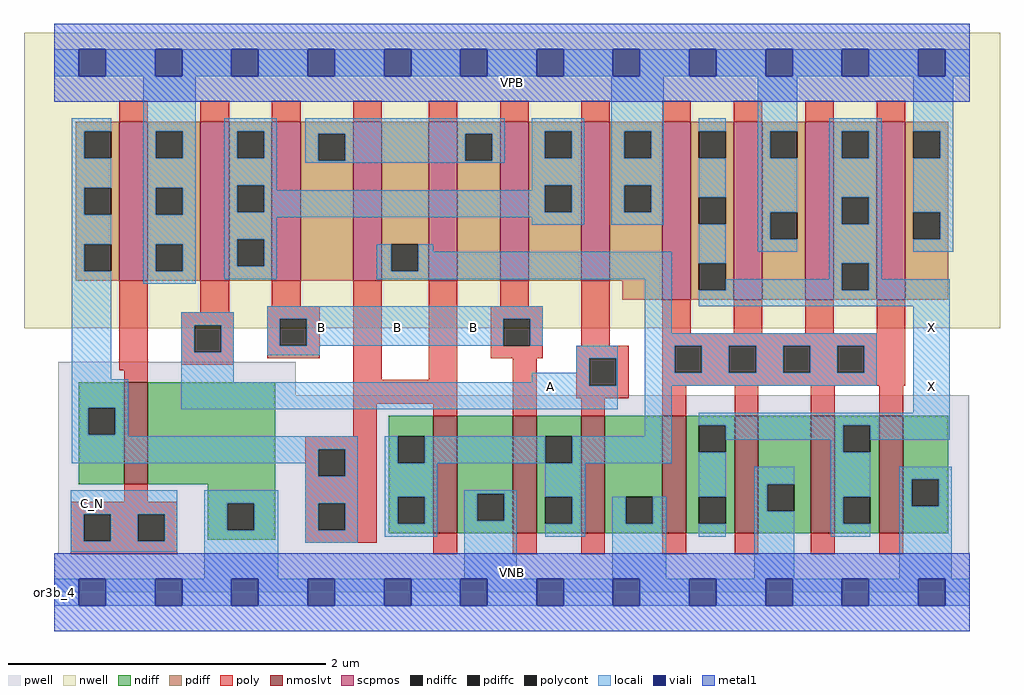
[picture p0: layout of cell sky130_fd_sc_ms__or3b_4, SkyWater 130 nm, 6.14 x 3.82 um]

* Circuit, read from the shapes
.subckt sky130_fd_sc_ms__or3b_4 A B C_N VGND VNB VPB VPWR X
XM1 VGND C_N n1 VNB sky130_fd_pr__nfet_01v8_lvt w=0.64 l=0.15
XM2 VGND n1 n2 VNB sky130_fd_pr__nfet_01v8_lvt w=0.74 l=0.15
XM3 n2 B VGND VNB sky130_fd_pr__nfet_01v8_lvt w=0.74 l=0.15
XM4 VGND A n2 VNB sky130_fd_pr__nfet_01v8_lvt w=0.74 l=0.15
XM5 X n2 VGND VNB sky130_fd_pr__nfet_01v8_lvt w=0.74 l=0.15 m=4
XM6 VPWR C_N n1 VPB sky130_fd_pr__pfet_01v8 w=1 l=0.18
XM7 n3 A VPWR VPB sky130_fd_pr__pfet_01v8 w=1 l=0.18 m=2
XM8 n4 B n3 VPB sky130_fd_pr__pfet_01v8 w=1 l=0.18 m=2
XM9 n2 n1 n4 VPB sky130_fd_pr__pfet_01v8 w=1 l=0.18 m=2
XM10 X n2 VPWR VPB sky130_fd_pr__pfet_01v8 w=1.12 l=0.18 m=4
.ends

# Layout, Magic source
magic
tech sky130A
magscale 1 2
<< nwell >>
rect -38 332 1190 704
<< pwell >>
rect 5 248 304 290
rect 5 49 1151 248
rect 0 0 1152 49
<< scpmos >>
rect 82 392 118 592
rect 184 392 220 592
rect 274 392 310 592
rect 376 392 412 592
rect 471 392 507 592
rect 561 392 597 592
rect 663 392 699 592
rect 765 368 801 592
rect 855 368 891 592
rect 945 368 981 592
rect 1035 368 1071 592
<< nmoslvt >>
rect 88 136 118 264
rect 477 74 507 222
rect 577 74 607 222
rect 663 74 693 222
rect 765 74 795 222
rect 856 74 886 222
rect 952 74 982 222
rect 1038 74 1068 222
<< ndiff >>
rect 31 232 88 264
rect 31 198 43 232
rect 77 198 88 232
rect 31 136 88 198
rect 118 136 278 264
rect 193 112 278 136
rect 193 78 218 112
rect 252 78 278 112
rect 193 66 278 78
rect 421 196 477 222
rect 421 162 432 196
rect 466 162 477 196
rect 421 120 477 162
rect 421 86 432 120
rect 466 86 477 120
rect 421 74 477 86
rect 507 124 577 222
rect 507 90 532 124
rect 566 90 577 124
rect 507 74 577 90
rect 607 196 663 222
rect 607 162 618 196
rect 652 162 663 196
rect 607 120 663 162
rect 607 86 618 120
rect 652 86 663 120
rect 607 74 663 86
rect 693 120 765 222
rect 693 86 719 120
rect 753 86 765 120
rect 693 74 765 86
rect 795 210 856 222
rect 795 176 811 210
rect 845 176 856 210
rect 795 120 856 176
rect 795 86 811 120
rect 845 86 856 120
rect 795 74 856 86
rect 886 136 952 222
rect 886 102 897 136
rect 931 102 952 136
rect 886 74 952 102
rect 982 210 1038 222
rect 982 176 993 210
rect 1027 176 1038 210
rect 982 120 1038 176
rect 982 86 993 120
rect 1027 86 1038 120
rect 982 74 1038 86
rect 1068 142 1125 222
rect 1068 108 1079 142
rect 1113 108 1125 142
rect 1068 74 1125 108
<< pdiff >>
rect 27 580 82 592
rect 27 546 38 580
rect 72 546 82 580
rect 27 509 82 546
rect 27 475 38 509
rect 72 475 82 509
rect 27 438 82 475
rect 27 404 38 438
rect 72 404 82 438
rect 27 392 82 404
rect 118 580 184 592
rect 118 546 128 580
rect 162 546 184 580
rect 118 509 184 546
rect 118 475 128 509
rect 162 475 184 509
rect 118 438 184 475
rect 118 404 128 438
rect 162 404 184 438
rect 118 392 184 404
rect 220 580 274 592
rect 220 546 230 580
rect 264 546 274 580
rect 220 512 274 546
rect 220 478 230 512
rect 264 478 274 512
rect 220 444 274 478
rect 220 410 230 444
rect 264 410 274 444
rect 220 392 274 410
rect 310 577 376 592
rect 310 543 332 577
rect 366 543 376 577
rect 310 392 376 543
rect 412 438 471 592
rect 412 404 424 438
rect 458 404 471 438
rect 412 392 471 404
rect 507 577 561 592
rect 507 543 517 577
rect 551 543 561 577
rect 507 392 561 543
rect 597 580 663 592
rect 597 546 617 580
rect 651 546 663 580
rect 597 512 663 546
rect 597 478 617 512
rect 651 478 663 512
rect 597 392 663 478
rect 699 580 765 592
rect 699 546 717 580
rect 751 546 765 580
rect 699 512 765 546
rect 699 478 717 512
rect 751 478 765 512
rect 699 392 765 478
rect 715 368 765 392
rect 801 580 855 592
rect 801 546 811 580
rect 845 546 855 580
rect 801 497 855 546
rect 801 463 811 497
rect 845 463 855 497
rect 801 414 855 463
rect 801 380 811 414
rect 845 380 855 414
rect 801 368 855 380
rect 891 580 945 592
rect 891 546 901 580
rect 935 546 945 580
rect 891 478 945 546
rect 891 444 901 478
rect 935 444 945 478
rect 891 368 945 444
rect 981 580 1035 592
rect 981 546 991 580
rect 1025 546 1035 580
rect 981 497 1035 546
rect 981 463 991 497
rect 1025 463 1035 497
rect 981 414 1035 463
rect 981 380 991 414
rect 1025 380 1035 414
rect 981 368 1035 380
rect 1071 580 1125 592
rect 1071 546 1081 580
rect 1115 546 1125 580
rect 1071 478 1125 546
rect 1071 444 1081 478
rect 1115 444 1125 478
rect 1071 368 1125 444
<< ndiffc >>
rect 43 198 77 232
rect 218 78 252 112
rect 432 162 466 196
rect 432 86 466 120
rect 532 90 566 124
rect 618 162 652 196
rect 618 86 652 120
rect 719 86 753 120
rect 811 176 845 210
rect 811 86 845 120
rect 897 102 931 136
rect 993 176 1027 210
rect 993 86 1027 120
rect 1079 108 1113 142
<< pdiffc >>
rect 38 546 72 580
rect 38 475 72 509
rect 38 404 72 438
rect 128 546 162 580
rect 128 475 162 509
rect 128 404 162 438
rect 230 546 264 580
rect 230 478 264 512
rect 230 410 264 444
rect 332 543 366 577
rect 424 404 458 438
rect 517 543 551 577
rect 617 546 651 580
rect 617 478 651 512
rect 717 546 751 580
rect 717 478 751 512
rect 811 546 845 580
rect 811 463 845 497
rect 811 380 845 414
rect 901 546 935 580
rect 901 444 935 478
rect 991 546 1025 580
rect 991 463 1025 497
rect 991 380 1025 414
rect 1081 546 1115 580
rect 1081 444 1115 478
<< poly >>
rect 82 592 118 618
rect 184 592 220 618
rect 274 592 310 618
rect 376 592 412 618
rect 471 592 507 618
rect 561 592 597 618
rect 663 592 699 618
rect 765 592 801 618
rect 855 592 891 618
rect 945 592 981 618
rect 1035 592 1071 618
rect 82 279 118 392
rect 184 352 220 392
rect 274 360 310 392
rect 160 336 226 352
rect 160 302 176 336
rect 210 302 226 336
rect 160 286 226 302
rect 268 344 334 360
rect 268 310 284 344
rect 318 310 334 344
rect 268 294 334 310
rect 88 264 118 279
rect 376 267 412 392
rect 471 267 507 392
rect 561 360 597 392
rect 549 344 615 360
rect 549 310 565 344
rect 599 310 615 344
rect 663 310 699 392
rect 765 326 801 368
rect 855 326 891 368
rect 945 326 981 368
rect 1035 326 1071 368
rect 765 310 1071 326
rect 549 294 615 310
rect 657 294 723 310
rect 376 237 507 267
rect 376 196 406 237
rect 477 222 507 237
rect 577 222 607 294
rect 657 260 673 294
rect 707 260 723 294
rect 657 244 723 260
rect 765 276 781 310
rect 815 276 849 310
rect 883 276 917 310
rect 951 276 985 310
rect 1019 276 1071 310
rect 765 260 1071 276
rect 663 222 693 244
rect 765 222 795 260
rect 856 222 886 260
rect 952 222 982 260
rect 1038 222 1068 260
rect 88 114 118 136
rect 21 98 155 114
rect 21 64 37 98
rect 71 64 105 98
rect 139 64 155 98
rect 316 180 406 196
rect 316 146 332 180
rect 366 146 406 180
rect 316 112 406 146
rect 316 78 332 112
rect 366 78 406 112
rect 21 48 155 64
rect 316 62 406 78
rect 477 48 507 74
rect 577 48 607 74
rect 663 48 693 74
rect 765 48 795 74
rect 856 48 886 74
rect 952 48 982 74
rect 1038 48 1068 74
<< polycont >>
rect 176 302 210 336
rect 284 310 318 344
rect 565 310 599 344
rect 673 260 707 294
rect 781 276 815 310
rect 849 276 883 310
rect 917 276 951 310
rect 985 276 1019 310
rect 37 64 71 98
rect 105 64 139 98
rect 332 146 366 180
rect 332 78 366 112
<< locali >>
rect 0 649 31 683
rect 65 649 127 683
rect 161 649 223 683
rect 257 649 319 683
rect 353 649 415 683
rect 449 649 511 683
rect 545 649 607 683
rect 641 649 703 683
rect 737 649 799 683
rect 833 649 895 683
rect 929 649 991 683
rect 1025 649 1087 683
rect 1121 649 1152 683
rect 22 580 72 596
rect 22 546 38 580
rect 22 509 72 546
rect 22 475 38 509
rect 22 438 72 475
rect 22 404 38 438
rect 22 268 72 404
rect 112 580 178 649
rect 112 546 128 580
rect 162 546 178 580
rect 112 509 178 546
rect 112 475 128 509
rect 162 475 178 509
rect 112 438 178 475
rect 112 404 128 438
rect 162 404 178 438
rect 112 388 178 404
rect 214 580 280 596
rect 214 546 230 580
rect 264 546 280 580
rect 214 512 280 546
rect 316 577 567 596
rect 316 543 332 577
rect 366 543 517 577
rect 551 543 567 577
rect 316 540 567 543
rect 601 580 667 596
rect 601 546 617 580
rect 651 546 667 580
rect 214 478 230 512
rect 264 506 280 512
rect 601 512 667 546
rect 601 506 617 512
rect 264 478 617 506
rect 651 478 667 512
rect 214 472 667 478
rect 214 444 280 472
rect 601 462 667 472
rect 701 580 767 649
rect 701 546 717 580
rect 751 546 767 580
rect 701 512 767 546
rect 701 478 717 512
rect 751 478 767 512
rect 701 462 767 478
rect 811 580 845 596
rect 811 497 845 546
rect 214 410 230 444
rect 264 410 280 444
rect 214 394 280 410
rect 406 404 424 438
rect 458 428 477 438
rect 458 404 777 428
rect 406 394 777 404
rect 160 336 226 352
rect 160 302 176 336
rect 210 302 226 336
rect 22 232 93 268
rect 22 198 43 232
rect 77 198 93 232
rect 160 264 226 302
rect 268 344 615 360
rect 268 310 284 344
rect 318 310 565 344
rect 599 310 615 344
rect 743 326 777 394
rect 811 414 845 463
rect 885 580 935 649
rect 885 546 901 580
rect 885 478 935 546
rect 885 444 901 478
rect 885 428 935 444
rect 975 580 1041 596
rect 975 546 991 580
rect 1025 546 1041 580
rect 975 497 1041 546
rect 975 463 991 497
rect 1025 463 1041 497
rect 975 414 1041 463
rect 1081 580 1131 649
rect 1115 546 1131 580
rect 1081 478 1131 546
rect 1115 444 1131 478
rect 1081 428 1131 444
rect 975 394 991 414
rect 845 380 991 394
rect 1025 394 1041 414
rect 1025 380 1127 394
rect 811 360 1127 380
rect 743 310 1035 326
rect 268 298 334 310
rect 657 294 709 310
rect 657 276 673 294
rect 601 264 673 276
rect 160 260 673 264
rect 707 260 709 294
rect 160 230 709 260
rect 743 276 781 310
rect 815 276 849 310
rect 883 276 917 310
rect 951 276 985 310
rect 1019 276 1035 310
rect 743 260 1035 276
rect 22 196 93 198
rect 743 196 777 260
rect 1081 226 1127 360
rect 22 180 382 196
rect 22 162 332 180
rect 316 146 332 162
rect 366 146 382 180
rect 21 98 155 128
rect 21 64 37 98
rect 71 64 105 98
rect 139 64 155 98
rect 21 51 155 64
rect 189 112 282 128
rect 189 78 218 112
rect 252 78 282 112
rect 189 17 282 78
rect 316 112 382 146
rect 316 78 332 112
rect 366 78 382 112
rect 316 62 382 78
rect 416 162 432 196
rect 466 162 618 196
rect 652 162 777 196
rect 811 210 1127 226
rect 845 192 993 210
rect 416 120 482 162
rect 416 86 432 120
rect 466 86 482 120
rect 416 70 482 86
rect 516 124 582 128
rect 516 90 532 124
rect 566 90 582 124
rect 516 17 582 90
rect 618 120 668 162
rect 811 120 845 176
rect 977 176 993 192
rect 1027 192 1127 210
rect 652 86 668 120
rect 618 70 668 86
rect 702 86 719 120
rect 753 86 770 120
rect 702 17 770 86
rect 811 70 845 86
rect 881 136 931 158
rect 881 102 897 136
rect 881 17 931 102
rect 977 120 1027 176
rect 977 86 993 120
rect 977 70 1027 86
rect 1063 142 1129 158
rect 1063 108 1079 142
rect 1113 108 1129 142
rect 1063 17 1129 108
rect 0 -17 31 17
rect 65 -17 127 17
rect 161 -17 223 17
rect 257 -17 319 17
rect 353 -17 415 17
rect 449 -17 511 17
rect 545 -17 607 17
rect 641 -17 703 17
rect 737 -17 799 17
rect 833 -17 895 17
rect 929 -17 991 17
rect 1025 -17 1087 17
rect 1121 -17 1152 17
<< viali >>
rect 31 649 65 683
rect 127 649 161 683
rect 223 649 257 683
rect 319 649 353 683
rect 415 649 449 683
rect 511 649 545 683
rect 607 649 641 683
rect 703 649 737 683
rect 799 649 833 683
rect 895 649 929 683
rect 991 649 1025 683
rect 1087 649 1121 683
rect 31 -17 65 17
rect 127 -17 161 17
rect 223 -17 257 17
rect 319 -17 353 17
rect 415 -17 449 17
rect 511 -17 545 17
rect 607 -17 641 17
rect 703 -17 737 17
rect 799 -17 833 17
rect 895 -17 929 17
rect 991 -17 1025 17
rect 1087 -17 1121 17
<< metal1 >>
rect 0 683 1152 715
rect 0 649 31 683
rect 65 649 127 683
rect 161 649 223 683
rect 257 649 319 683
rect 353 649 415 683
rect 449 649 511 683
rect 545 649 607 683
rect 641 649 703 683
rect 737 649 799 683
rect 833 649 895 683
rect 929 649 991 683
rect 1025 649 1087 683
rect 1121 649 1152 683
rect 0 617 1152 649
rect 0 17 1152 49
rect 0 -17 31 17
rect 65 -17 127 17
rect 161 -17 223 17
rect 257 -17 319 17
rect 353 -17 415 17
rect 449 -17 511 17
rect 545 -17 607 17
rect 641 -17 703 17
rect 737 -17 799 17
rect 833 -17 895 17
rect 929 -17 991 17
rect 1025 -17 1087 17
rect 1121 -17 1152 17
rect 0 -49 1152 -17
<< labels >>
flabel pwell s 0 0 1152 49 0 FreeSans 200 0 0 0 VNB
port 5 nsew ground bidirectional
flabel nwell s 0 617 1152 666 0 FreeSans 200 0 0 0 VPB
port 6 nsew power bidirectional
rlabel comment s 0 0 0 0 4 or3b_4
flabel metal1 s 0 617 1152 666 0 FreeSans 340 0 0 0 VPWR
port 7 nsew power bidirectional
flabel metal1 s 0 0 1152 49 0 FreeSans 340 0 0 0 VGND
port 4 nsew ground bidirectional
flabel locali s 607 242 641 276 0 FreeSans 340 0 0 0 A
port 1 nsew signal input
flabel locali s 319 316 353 350 0 FreeSans 340 0 0 0 B
port 2 nsew signal input
flabel locali s 415 316 449 350 0 FreeSans 340 0 0 0 B
port 2 nsew signal input
flabel locali s 511 316 545 350 0 FreeSans 340 0 0 0 B
port 2 nsew signal input
flabel locali s 31 94 65 128 0 FreeSans 340 0 0 0 C_N
port 3 nsew signal input
flabel locali s 1087 242 1121 276 0 FreeSans 340 0 0 0 X
port 8 nsew signal output
flabel locali s 1087 316 1121 350 0 FreeSans 340 0 0 0 X
port 8 nsew signal output
<< properties >>
string LEFsite unit
string LEFclass CORE
string FIXED_BBOX 0 0 1152 666
string GDS_FILE $PDKPATH/libs.ref/sky130_fd_sc_ms/gds/sky130_fd_sc_ms.gds
string LEFsymmetry X Y
string GDS_END 612568
string GDS_START 602728
<< end >>
